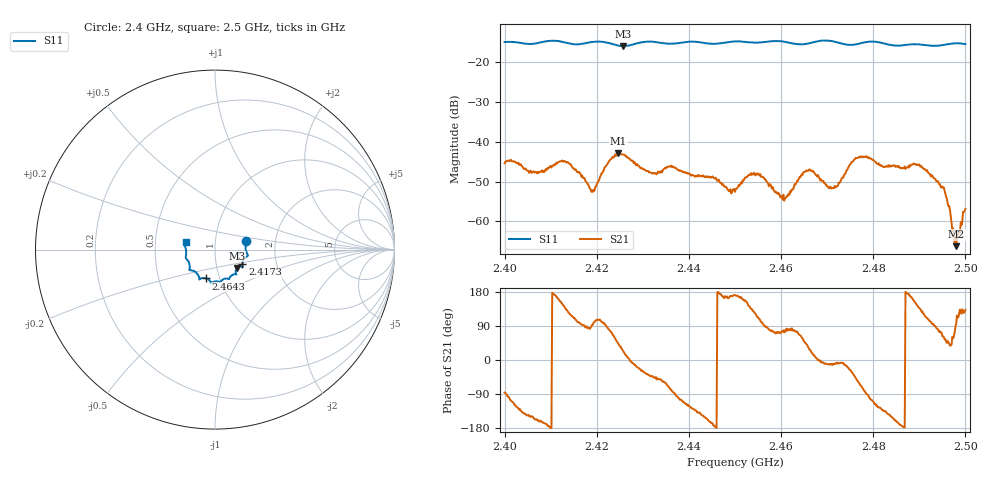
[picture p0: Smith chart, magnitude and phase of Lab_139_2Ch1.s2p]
# Hz S RI R 50
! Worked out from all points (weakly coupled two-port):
!   601 points, 2.4 GHz to 2.5 GHz, reference 50 ohm
!   highest |S21| = -42.86 dB at 2.4247 GHz (marker M1); lowest = -66.2 dB at 2.498 GHz (marker M2)
!   lowest |S11| = -15.9 dB at 2.4257 GHz (marker M3), VSWR 1.38, Z = 62.5 - j13.1 ohm
!   |S11| at or under -10 dB: start of sweep to end of sweep
!   S12 and S22 are empty: the file has one direction only
!   S11 on the Smith chart (normalised r, x): 2.4 GHz: 1.41, +0.14; 2.4173 GHz: 1.34, -0.23; 2.4643 GHz: 0.86, -0.28; 2.5 GHz: 0.72, +0.06
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2.4e9  0.173 0.0493  0.00038 -0.00536  0 0  0 0
2.407e9  0.1735 -0.0102  -0.0037 -0.0016  0 0  0 0
2.412667e9  0.176 -0.0392  -0.00458 0.00325  0 0  0 0
2.416667e9  0.153 -0.0744  -0.000265 0.00363  0 0  0 0
2.417333e9  0.1525 -0.082  -6.82e-05 0.00351  0 0  0 0
2.419333e9  0.1537 -0.0961  -0.000377 0.00246  0 0  0 0
2.424667e9  0.1309 -0.0964  0.0052 0.00497  0 0  0 0
2.425667e9  0.1229 -0.1023  0.0063 0.00295  0 0  0 0
2.433333e9  0.1132 -0.1369  0.00277 -0.00322  0 0  0 0
2.45e9  0.0295 -0.1809  -0.00232 0.000369  0 0  0 0
2.454667e9  0.00479 -0.1767  -0.00181 0.00354  0 0  0 0
2.460667e9  -0.0252 -0.18  0.000534 0.00174  0 0  0 0
2.464333e9  -0.05 -0.1606  0.0017 0.00337  0 0  0 0
2.466667e9  -0.0759 -0.1599  0.00415 0.00138  0 0  0 0
2.471e9  -0.0873 -0.1632  0.00262 -0.000456  0 0  0 0
2.476667e9  -0.1233 -0.1173  0.00352 -0.00525  0 0  0 0
2.483333e9  -0.1409 -0.09  -0.00409 -0.00306  0 0  0 0
2.4895e9  -0.1629 -0.0434  -0.00415 0.00299  0 0  0 0
2.493667e9  -0.1614 -0.00577  0.000283 0.00321  0 0  0 0
2.4955e9  -0.1658 0.0149  0.00141 0.00196  0 0  0 0
2.498e9  -0.1708 0.0316  -4.12e-05 0.000486  0 0  0 0
2.5e9  -0.164 0.0425  -0.000959 0.00107  0 0  0 0
